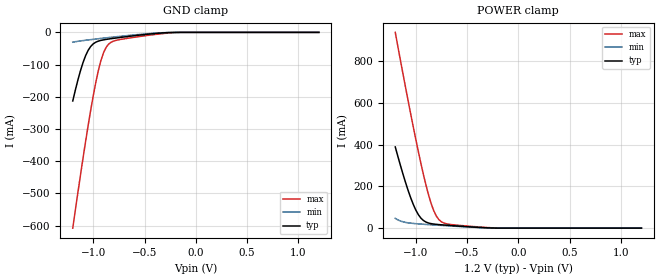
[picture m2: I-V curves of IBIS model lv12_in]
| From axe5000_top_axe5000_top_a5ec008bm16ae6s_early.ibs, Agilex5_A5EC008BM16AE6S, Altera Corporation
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|   Model lv12_in
[Model] lv12_in
Model_type Input
Polarity   Non-Inverting
Enable   Active-High
Vinl =  0.420V
Vinh =  0.780V
C_comp   1.687pF   1.660pF   1.829pF
[Model Spec]
Vinh   0.780V   0.741V   0.819V
Vinl   0.420V   0.399V   0.441V
[Temperature Range]   25.000   100.000   0.0
[Voltage Range]   1.200V   1.140V   1.260V
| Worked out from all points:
|   GND clamp passes 1 mA (typ) near -0.29 V on its own axis
|   POWER clamp passes 1 mA (typ) near -0.28 V on its own axis
[GND_clamp]
|Voltage   I(typ)   I(min)   I(max)
-1.2V     -212.9mA   -30.44mA   -607.7mA
-1.125V   -119.2mA   -26.55mA   -443.5mA
-1.075V   -72.5mA    -24.45mA   -339.1mA
-1.025V   -43.63mA   -22.52mA   -241.4mA
-975mV    -30.38mA   -20.65mA   -154.8mA
-925mV    -24.87mA   -18.84mA   -86.98mA
-900mV    -23.22mA   -17.94mA   -63.11mA
-850mV    -20.66mA   -16.17mA   -36.37mA
-800mV    -18.45mA   -14.43mA   -26.89mA
-725mV    -15.34mA   -11.9mA    -21.43mA
-200mV    -128.5uA   -101.6uA   -681.8uA
1.2V      0A         0A         0A
[POWER_clamp]
|Voltage   I(typ)   I(min)   I(max)
-1.2V     389.4mA    46.84mA    938.7mA
-1.125V   259.6mA    30.37mA    740.7mA
-1.075V   181.4mA    25.45mA    612mA
-1.025V   114.5mA    22.53mA    486.9mA
-975mV    64.77mA    20.41mA    367.3mA
-900mV    29.04mA    17.78mA    205.2mA
-850mV    21.58mA    16.16mA    117.7mA
-800mV    18.19mA    14.57mA    58.38mA
-750mV    15.96mA    13.02mA    30.41mA
-650mV    12.21mA    9.988mA    16.84mA
-225mV    311.2uA    332.2uA    946.8uA
1.2V      0A         0A         0A
